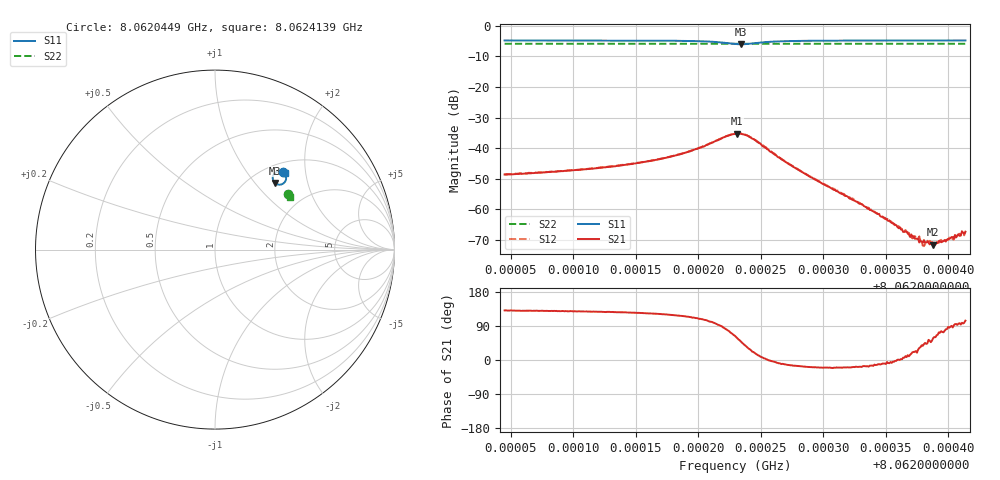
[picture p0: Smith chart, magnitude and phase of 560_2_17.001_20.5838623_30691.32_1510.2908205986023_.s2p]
#  HZ  S  RI  R  50.00
! Rohde & Schwarz Vector Network Analyzer
! Rohde-Schwarz,ZNB20-2Port,1311601062101988,3.16
! Created: UTC 3/20/2024, 11:17:10 PM
! freq[Hz]  re:S11  im:S11  re:S21  im:S21  re:S12  im:S12  re:S22  im:S22
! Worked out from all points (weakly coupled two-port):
!   401 points, 8.0620449 GHz to 8.0624139 GHz, reference 50 ohm
!   highest |S21| = -35.19 dB at 8.0622313 GHz (marker M1); lowest = -71.5 dB at 8.0623881 GHz (marker M2)
!   lowest |S11| = -6.0 dB at 8.062234 GHz (marker M3), VSWR 3.00, Z = 64.7 + j63.9 ohm
!   |S11| at or under -10 dB: nowhere
!   |S22| runs from -5.9 to -5.9 dB; largest |S21 - S12| = 0.0012
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8.06204494e9  0.38 0.4328  -0.00243 0.00282  -0.00227 0.00299  0.4043 0.3091
8.06210674e9  0.3856 0.4268  -0.00279 0.00354  -0.0026 0.00371  0.4066 0.3056
8.06216854e9  0.3933 0.4151  -0.00346 0.00563  -0.00315 0.00587  0.4088 0.3021
8.06219345e9  0.3965 0.4023  -0.00356 0.00819  -0.00309 0.00848  0.4097 0.3003
8.06221466e9  0.3896 0.3773  -0.00117 0.0134  -0.000409 0.0134  0.4098 0.2984
8.06222942e9  0.3515 0.3624  0.00772 0.0155  0.00879 0.015  0.4083 0.2973
8.06223127e9  0.3444 0.3646  0.00936 0.0147  0.0103 0.0142  0.4082 0.2975
8.06223403e9  0.3347 0.3708  0.0114 0.0131  0.0122 0.0126  0.4077 0.2978
8.06224418e9  0.3221 0.4055  0.0132 0.00507  0.0136 0.00428  0.4081 0.2991
8.06226816e9  0.3516 0.4358  0.0062 -0.00117  0.00621 -0.00156  0.4105 0.2989
8.06229122e9  0.3667 0.4359  0.00313 -0.00108  0.00306 -0.00128  0.4121 0.2976
8.06235303e9  0.3817 0.43  0.000657 -9.9e-05  0.000622 -0.000143  0.4147 0.2941
8.06235764e9  0.3824 0.4295  0.000562 -2.4e-05  0.000545 -5.95e-05  0.4149 0.2939
8.06236594e9  0.3833 0.4287  0.000429 7.72e-05  0.000461 6.36e-06  0.4151 0.2935
8.06237055e9  0.384 0.4285  0.000376 0.000112  0.000347 7.66e-05  0.4155 0.2932
8.06237517e9  0.3846 0.4282  0.000314 0.000109  0.000334 0.000134  0.4155 0.2929
8.06237978e9  0.3851 0.4278  0.000227 0.000174  0.000224 0.000126  0.4156 0.2926
8.06238439e9  0.3855 0.4273  0.000172 0.00023  0.000207 0.0002  0.4158 0.2924
8.06238808e9  0.3859 0.427  0.000143 0.000225  0.000152 0.000243  0.4159 0.2923
8.06240561e9  0.3878 0.4259  -3.08e-05 0.000383  1.78e-05 0.000362  0.4165 0.2913
8.06240929e9  0.388 0.4255  -4.51e-05 0.000368  -2.9e-05 0.000401  0.4168 0.2911
8.06241391e9  0.3884 0.4253  -0.000104 0.000421  -6.15e-05 0.000422  0.4169 0.291
